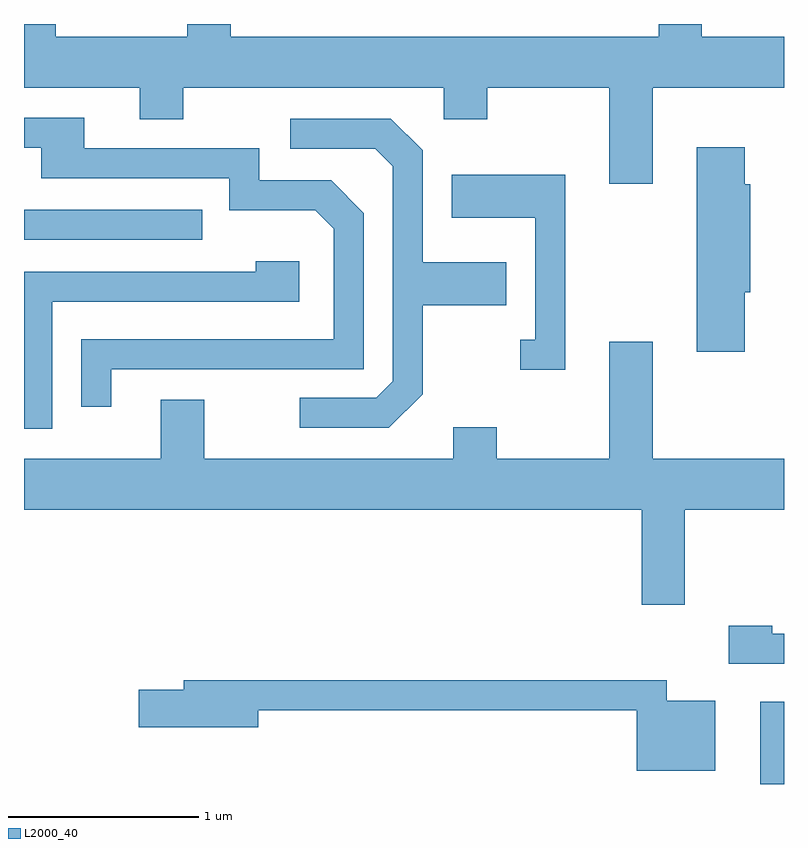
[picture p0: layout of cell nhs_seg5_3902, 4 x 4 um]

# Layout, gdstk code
import gdstk
lib = gdstk.Library(unit=1e-6, precision=1e-09)
def R(c, l, rs):  # rectangles x0, y0, x1, y1
    for r in rs: c.add(gdstk.rectangle(r[:2], r[2:], *l))
def P(c, l, *ps):  # polygons
    for p in ps: c.add(gdstk.Polygon(p, *l))
L2000_40 = (2000, 40)

nhs_seg5_3902 = lib.new_cell('nhs_seg5_3902')
R(nhs_seg5_3902, L2000_40, [(305.486,1402.072,305.611,1402.504), (301.611,1404.936,302.548,1405.094)])
P(nhs_seg5_3902, L2000_40, [(304.919,1405.736),(305.611,1405.736),(305.611,1406.004),(305.179,1406.004),(305.179,1406.072),(304.951,1406.072),(304.951,1406.004),(302.699,1406.004),(302.699,1406.072),(302.471,1406.072),(302.471,1406.004),(301.779,1406.004),(301.779,1406.072),(301.611,1406.072),(301.611,1405.736),(302.221,1405.736),(302.221,1405.571),(302.449,1405.571),(302.449,1405.736),(303.821,1405.736),(303.821,1405.571),(304.049,1405.571),(304.049,1405.736),(304.691,1405.736),(304.691,1405.231),(304.919,1405.231)],
  [(302.069,1404.256),(303.399,1404.256),(303.399,1405.077),(303.227,1405.249),(302.849,1405.249),(302.849,1405.419),(301.929,1405.419),(301.929,1405.579),(301.611,1405.579),(301.611,1405.421),(301.701,1405.421),(301.701,1405.261),(302.691,1405.261),(302.691,1405.091),(303.144,1405.091),(303.241,1404.994),(303.241,1404.414),(301.911,1404.414),(301.911,1404.058),(302.069,1404.058)],
  [(303.709,1404.124),(303.709,1404.591),(304.149,1404.591),(304.149,1404.819),(303.709,1404.819),(303.709,1405.407),(303.542,1405.574),(303.013,1405.574),(303.013,1405.416),(303.459,1405.416),(303.551,1405.324),(303.551,1404.192),(303.464,1404.104),(303.063,1404.104),(303.063,1403.946),(303.532,1403.946)],
  [(305.404,1404.661),(305.434,1404.661),(305.434,1405.229),(305.404,1405.229),(305.404,1405.424),(305.151,1405.424),(305.151,1404.346),(305.404,1404.346)],
  [(304.459,1405.279),(303.861,1405.279),(303.861,1405.051),(304.301,1405.051),(304.301,1404.409),(304.223,1404.409),(304.223,1404.251),(304.459,1404.251)],
  [(301.759,1404.611),(303.059,1404.611),(303.059,1404.824),(302.831,1404.824),(302.831,1404.769),(301.611,1404.769),(301.611,1403.941),(301.759,1403.941)],
  [(305.089,1403.516),(305.611,1403.516),(305.611,1403.784),(304.919,1403.784),(304.919,1404.399),(304.691,1404.399),(304.691,1403.784),(304.099,1403.784),(304.099,1403.949),(303.871,1403.949),(303.871,1403.784),(302.559,1403.784),(302.559,1404.094),(302.331,1404.094),(302.331,1403.784),(301.611,1403.784),(301.611,1403.516),(304.861,1403.516),(304.861,1403.016),(305.089,1403.016)],
  [(305.611,1402.864),(305.549,1402.864),(305.549,1402.904),(305.321,1402.904),(305.321,1402.706),(305.611,1402.706)],
  [(305.249,1402.509),(304.994,1402.509),(304.994,1402.619),(302.451,1402.619),(302.451,1402.569),(302.216,1402.569),(302.216,1402.371),(302.844,1402.371),(302.844,1402.461),(304.836,1402.461),(304.836,1402.141),(305.249,1402.141)])

lib.write_gds('nhs_seg5_3902.gds')
